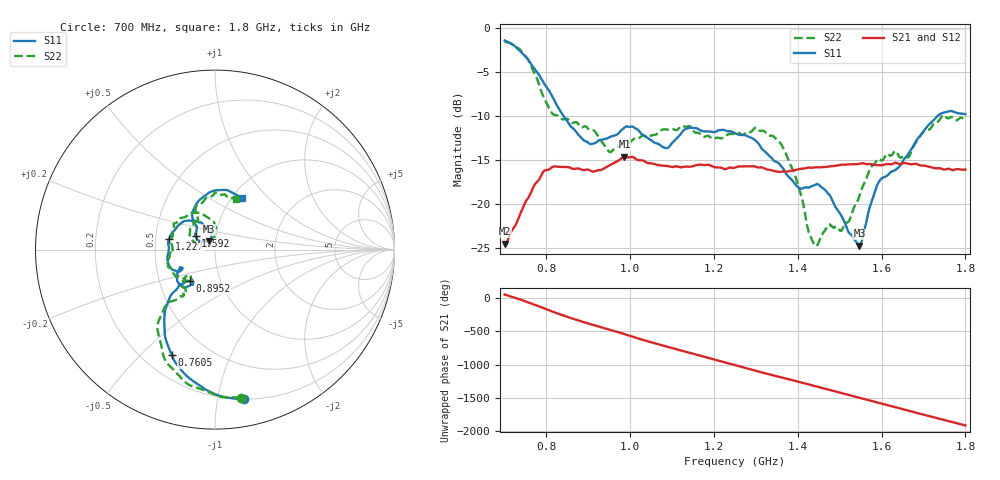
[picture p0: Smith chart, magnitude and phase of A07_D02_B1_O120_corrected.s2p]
! Created with skrf 1.9.0 (http://scikit-rf.org).
# Hz S RI R 50.0
!freq ReS11 ImS11 ReS21 ImS21 ReS12 ImS12 ReS22 ImS22
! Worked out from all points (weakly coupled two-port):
!   1601 points, 700 MHz to 1.8 GHz, reference 50 ohm
!   highest |S21| = -14.62 dB at 986 MHz (marker M1); lowest = -24.5 dB at 700.7 MHz (marker M2)
!   lowest |S11| = -24.7 dB at 1.547 GHz (marker M3), VSWR 1.12, Z = 46.4 + j4.31 ohm
!   |S11| at or under -10 dB: 840.7 MHz to 1.733 GHz (892.5 MHz wide, 69.3 % of centre)
!   |S22| runs from -24.8 to -1.5 dB; largest |S21 - S12| = 0.0035
!   S11 on the Smith chart (normalised r, x): 700 MHz: 0.20, -1.19; 760.5 MHz: 0.32, -0.62; 895.2 MHz: 0.71, -0.27; 1.227 GHz: 0.59, +0.07; 1.592 GHz: 0.80, +0.12; 1.8 GHz: 1.12, +0.71
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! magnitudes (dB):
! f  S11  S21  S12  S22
! 700 MHz  -1.4  -24.5  -24.3  -1.5
! 700.7 MHz  -1.4  -24.5  -24.2  -1.6
! 760.5 MHz  -3.9  -19.0  -18.8  -4.0
! 812.8 MHz  -7.7  -15.8  -15.8  -9.6
! 883.6 MHz  -12.5  -16.1  -16.0  -11.3
! 895.2 MHz  -12.9  -16.1  -16.2  -11.2
! 950.9 MHz  -12.4  -15.6  -15.6  -14.1
! 986 MHz  -11.3  -14.6  -14.7  -13.0
! 1.067 GHz  -13.2  -15.6  -15.5  -11.9
! 1.139 GHz  -11.4  -15.7  -15.7  -11.1
! 1.227 GHz  -11.6  -16.0  -15.9  -12.3
! 1.25 GHz  -12.0  -15.9  -15.8  -12.0
! 1.359 GHz  -15.6  -16.3  -16.3  -13.1
! 1.394 GHz  -17.8  -16.1  -16.1  -16.9
! 1.434 GHz  -18.0  -15.9  -15.8  -24.1
! 1.505 GHz  -21.4  -15.5  -15.5  -23.0
! 1.547 GHz  -24.7  -15.4  -15.4  -19.1
! 1.592 GHz  -17.6  -15.6  -15.6  -14.9
! 1.617 GHz  -16.6  -15.5  -15.4  -14.4
! 1.664 GHz  -14.3  -15.4  -15.4  -14.7
! 1.737 GHz  -9.9  -15.9  -16.0  -10.5
! 1.8 GHz  -9.8  -16.1  -16.1  -10.3
